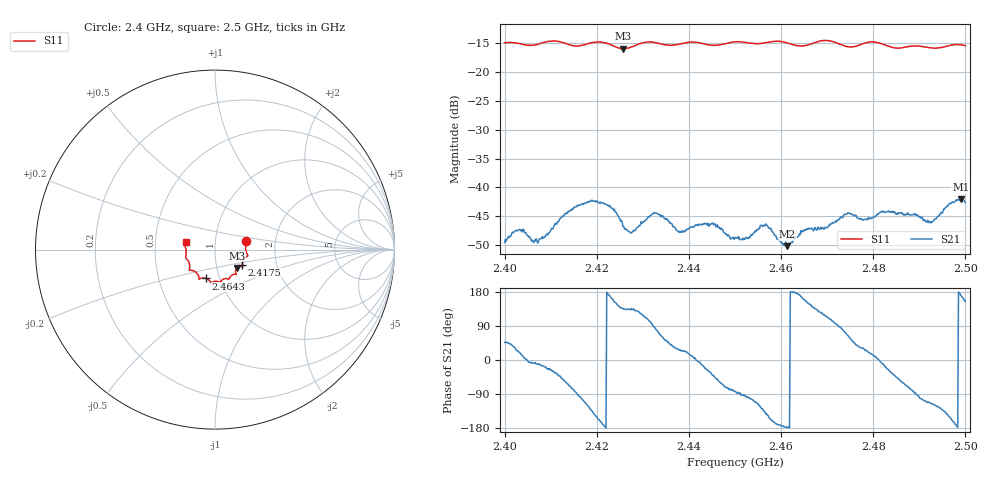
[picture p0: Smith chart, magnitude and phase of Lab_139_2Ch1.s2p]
# Hz S RI R 50
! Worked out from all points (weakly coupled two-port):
!   601 points, 2.4 GHz to 2.5 GHz, reference 50 ohm
!   highest |S21| = -42.07 dB at 2.499 GHz (marker M1); lowest = -50.2 dB at 2.4613 GHz (marker M2)
!   lowest |S11| = -15.9 dB at 2.4257 GHz (marker M3), VSWR 1.38, Z = 62.5 - j13.1 ohm
!   |S11| at or under -10 dB: start of sweep to end of sweep
!   S12 and S22 are empty: the file has one direction only
!   S11 on the Smith chart (normalised r, x): 2.4 GHz: 1.41, +0.14; 2.4175 GHz: 1.34, -0.23; 2.4643 GHz: 0.86, -0.29; 2.5 GHz: 0.72, +0.06
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2.4e9  0.173 0.0486  0.0023 0.00241  0 0  0 0
2.403167e9  0.1739 0.0329  0.00407 0.00146  0 0  0 0
2.4075e9  0.1751 -0.0155  0.0035 -0.000675  0 0  0 0
2.416667e9  0.1532 -0.0741  -0.00136 -0.00699  0 0  0 0
2.4175e9  0.1522 -0.0836  -0.00288 -0.00672  0 0  0 0
2.422333e9  0.1498 -0.0949  -0.00696 0.000508  0 0  0 0
2.425667e9  0.1227 -0.1018  -0.00335 0.00317  0 0  0 0
2.427667e9  0.1147 -0.1199  -0.0028 0.00301  0 0  0 0
2.433333e9  0.1134 -0.1372  0.00165 0.00564  0 0  0 0
2.437833e9  0.0832 -0.1533  0.00361 0.00189  0 0  0 0
2.445167e9  0.0545 -0.1621  0.00371 -0.00323  0 0  0 0
2.45e9  0.0289 -0.1809  0.000434 -0.00365  0 0  0 0
2.456667e9  -0.0114 -0.1796  -0.00383 -0.00295  0 0  0 0
2.461333e9  -0.0276 -0.177  -0.0031 -0.000135  0 0  0 0
2.464333e9  -0.0498 -0.1609  -0.00412 0.000944  0 0  0 0
2.466667e9  -0.076 -0.1593  -0.00344 0.00281  0 0  0 0
2.474333e9  -0.1 -0.1328  0.00239 0.00541  0 0  0 0
2.478167e9  -0.1364 -0.1154  0.00475 0.00233  0 0  0 0
2.483333e9  -0.1411 -0.0901  0.0056 -0.00281  0 0  0 0
2.4925e9  -0.1611 -0.02  -0.00201 -0.0045  0 0  0 0
2.499e9  -0.1686 0.0374  -0.00777 0.00131  0 0  0 0
2.5e9  -0.1642 0.043  -0.00672 0.00314  0 0  0 0
